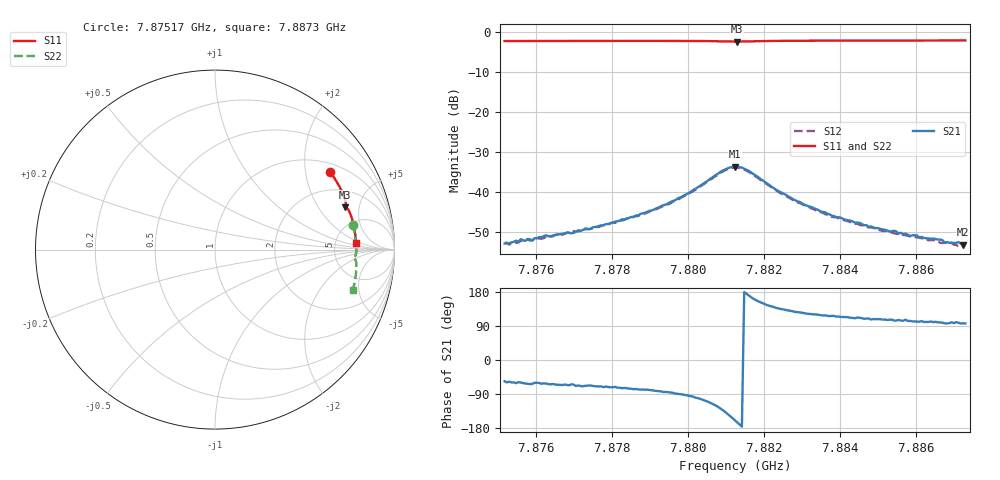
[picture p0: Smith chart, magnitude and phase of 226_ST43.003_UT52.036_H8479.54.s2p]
#  HZ  S  DB  R  50.00
! Rohde & Schwarz Vector Network Analyzer
! Rohde-Schwarz,ZNB20-2Port,1311601062101988,3.16
! Created: UTC 1/12/2023, 6:46:14 PM
! freq[Hz]  db:S11  ang:S11  db:S21  ang:S21  db:S12  ang:S12  db:S22  ang:S22
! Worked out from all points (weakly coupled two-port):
!   201 points, 7.87517 GHz to 7.8873 GHz, reference 50 ohm
!   highest |S21| = -33.58 dB at 7.88123 GHz (marker M1); lowest = -53.0 dB at 7.88724 GHz (marker M2)
!   lowest |S11| = -2.4 dB at 7.88129 GHz (marker M3), VSWR 7.42, Z = 159 + j180 ohm
!   |S11| at or under -10 dB: nowhere
!   |S22| runs from -2.2 to -1.9 dB; largest |S21 - S12| = 0.0013
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7.875166e9  -2.23 34.1  -52.81 -56.1  -52.64 -60.1  -2.17 10.3
7.875287e9  -2.23 33.7  -52.72 -57.3  -53.08 -61.5  -2.16 10.0
7.875409e9  -2.23 33.4  -52.36 -59.1  -52.30 -62.9  -2.16 9.6
7.87553e9  -2.23 33.1  -52.35 -58.4  -52.54 -62.6  -2.16 9.4
7.875591e9  -2.23 32.9  -51.73 -59.4  -52.12 -62.8  -2.15 9.2
7.875894e9  -2.22 32.1  -52.10 -63.2  -51.92 -64.3  -2.14 8.5
7.876015e9  -2.22 31.7  -51.50 -60.0  -51.80 -66.3  -2.13 8.3
7.877228e9  -2.20 28.5  -49.42 -69.4  -49.16 -71.2  -2.11 5.4
7.878138e9  -2.19 26.0  -47.23 -73.2  -47.47 -76.1  -2.09 3.3
7.87923e9  -2.18 22.9  -43.79 -82.4  -43.89 -85.1  -2.07 0.7
7.880018e9  -2.20 20.7  -40.17 -94.7  -40.26 -98.2  -2.09 -1.2
7.880867e9  -2.31 18.4  -34.75 -129.4  -35.05 -132.9  -2.19 -3.2
7.881231e9  -2.35 18.1  -33.58 -159.5  -33.80 -162.8  -2.25 -3.4
7.881292e9  -2.36 18.0  -33.59 -164.9  -33.83 -168.2  -2.24 -3.3
7.881595e9  -2.30 17.8  -34.66 170.1  -34.94 166.7  -2.19 -3.5
7.882748e9  -2.15 14.7  -41.66 128.8  -41.88 125.0  -2.03 -6.0
7.883294e9  -2.13 13.2  -43.92 120.5  -44.18 118.0  -2.00 -7.3
7.884021e9  -2.12 11.2  -46.36 113.6  -46.85 112.0  -1.98 -9.0
7.885295e9  -2.10 7.8  -49.75 106.2  -49.94 103.0  -1.95 -11.9
7.887115e9  -2.08 3.0  -52.44 98.3  -53.45 95.5  -1.93 -15.8
7.887236e9  -2.08 2.7  -53.03 96.8  -53.29 94.4  -1.94 -16.0
7.887297e9  -2.08 2.6  -52.75 96.5  -53.28 93.5  -1.93 -16.1
